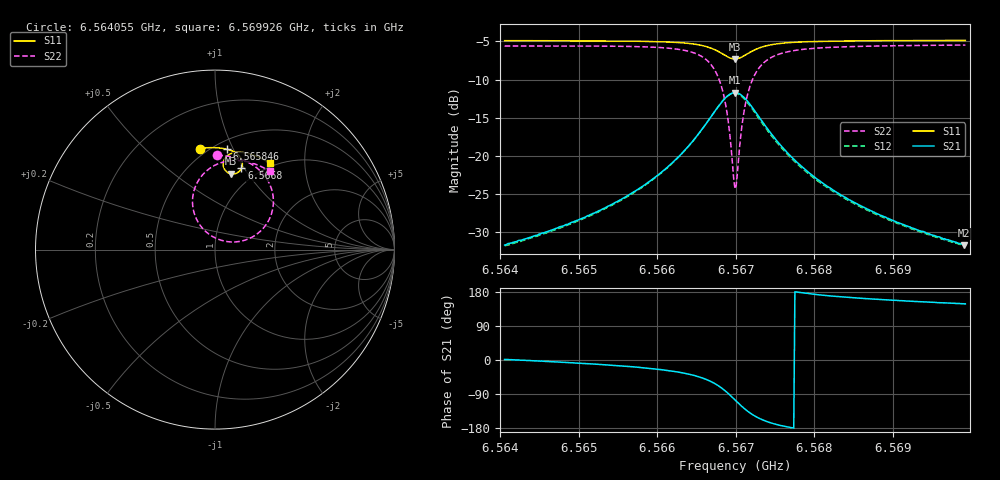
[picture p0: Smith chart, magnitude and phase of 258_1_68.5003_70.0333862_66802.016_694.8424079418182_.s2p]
#  HZ  S  RI  R  50.00
! Rohde & Schwarz Vector Network Analyzer
! Rohde-Schwarz,ZNB20-2Port,1311601062101988,3.16
! Created: UTC 3/20/2024, 5:00:07 PM
! freq[Hz]  re:S11  im:S11  re:S21  im:S21  re:S12  im:S12  re:S22  im:S22
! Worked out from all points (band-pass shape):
!   401 points, 6.564055 GHz to 6.569926 GHz, reference 50 ohm
!   highest |S21| = -11.73 dB at 6.56699 GHz (marker M1); lowest = -31.8 dB at 6.569911 GHz (marker M2)
!   |S21| within 3 dB of the highest: 6.566696 GHz to 6.567284 GHz (588.1 kHz wide, 0.00895 % of centre)
!   lowest |S11| = -7.3 dB at 6.56699 GHz (marker M3), VSWR 2.52, Z = 40.3 + j41.8 ohm
!   |S11| at or under -10 dB: nowhere
!   |S22| runs from -24.3 to -5.5 dB; largest |S21 - S12| = 0.012
!   S11 on the Smith chart (normalised r, x): 6.564055 GHz: 0.45, +0.75; 6.565846 GHz: 0.58, +0.94; 6.5668 GHz: 0.83, +0.97; 6.569926 GHz: 0.94, +1.35
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6.5640551e9  -0.0859 0.5626  0.0259 0.000593  0.0255 0.000218  0.0127 0.5247
6.5650384e9  -0.00663 0.5681  0.0383 -0.00593  0.0376 -0.00648  0.1023 0.5149
6.5658456e9  0.0658 0.5595  0.0603 -0.0231  0.0595 -0.0238  0.1978 0.4791
6.5660217e9  0.0836 0.5544  0.0686 -0.0315  0.0675 -0.0324  0.2248 0.4616
6.5663446e9  0.119 0.5366  0.0885 -0.0616  0.087 -0.0627  0.283 0.4025
6.5665648e9  0.1436 0.5101  0.1012 -0.1076  0.099 -0.1095  0.321 0.3138
6.5666969e9  0.1524 0.482  0.0969 -0.156  0.093 -0.1589  0.3203 0.2209
6.5667996e9  0.1476 0.4533  0.071 -0.2057  0.0647 -0.2085  0.2762 0.1277
6.5668877e9  0.1275 0.4299  0.02 -0.244  0.0106 -0.2446  0.1835 0.0584
6.5669611e9  0.0997 0.4212  -0.0422 -0.2545  -0.0528 -0.2509  0.0724 0.0439
6.5669904e9  0.0875 0.4223  -0.0686 -0.2499  -0.0788 -0.2446  0.0265 0.0546
6.5670198e9  0.0758 0.4264  -0.0934 -0.2403  -0.1028 -0.2332  -0.0159 0.0741
6.5670785e9  0.0574 0.4412  -0.1338 -0.2089  -0.1403 -0.1995  -0.0816 0.1338
6.5671225e9  0.0492 0.4556  -0.1534 -0.1798  -0.1575 -0.1698  -0.1107 0.1874
6.5671812e9  0.0455 0.4753  -0.1658 -0.1407  -0.167 -0.131  -0.1251 0.257
6.5672546e9  0.0496 0.4968  -0.1656 -0.0988  -0.1646 -0.0907  -0.1168 0.3293
6.5675188e9  0.0885 0.5348  -0.1242 -0.0215  -0.1216 -0.0181  -0.0223 0.4573
6.5679737e9  0.147 0.5423  -0.0739 0.00788  -0.0721 0.00897  0.097 0.4964
6.5684434e9  0.1926 0.5335  -0.0496 0.0131  -0.0485 0.0138  0.1695 0.4915
6.5689571e9  0.2349 0.5188  -0.0356 0.0142  -0.0348 0.0145  0.2261 0.4756
6.5699111e9  0.3037 0.4836  -0.022 0.0136  -0.0216 0.0138  0.3052 0.4365
6.5699257e9  0.3046 0.483  -0.0221 0.0137  -0.0214 0.0137  0.3062 0.436
